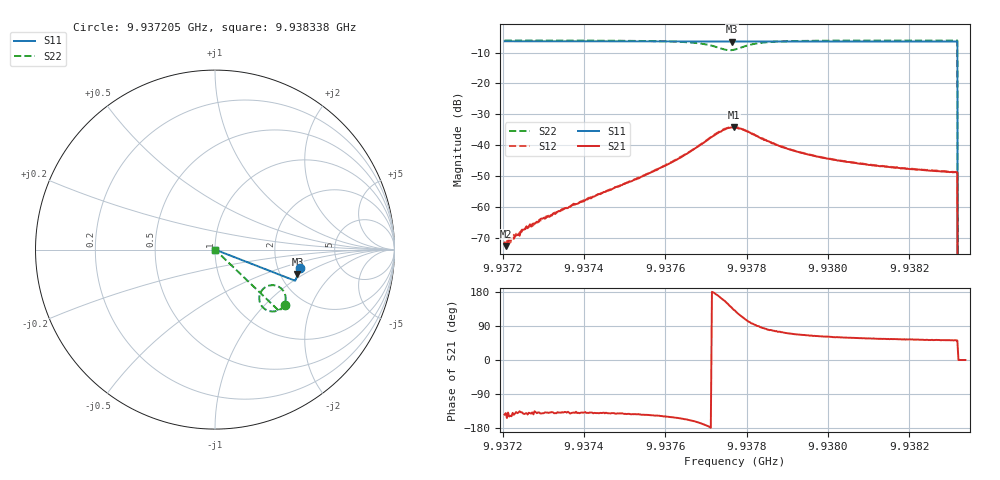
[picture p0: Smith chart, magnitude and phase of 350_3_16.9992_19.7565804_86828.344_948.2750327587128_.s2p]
#  HZ  S  RI  R  50.00
! Rohde & Schwarz Vector Network Analyzer
! Rohde-Schwarz,ZNB20-2Port,1311601062101988,3.16
! Created: UTC 3/20/2024, 11:07:48 PM
! freq[Hz]  re:S11  im:S11  re:S21  im:S21  re:S12  im:S12  re:S22  im:S22
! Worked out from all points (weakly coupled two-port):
!   401 points, 9.937205 GHz to 9.938338 GHz, reference 50 ohm
!   highest |S21| = -34.26 dB at 9.937769 GHz (marker M1); lowest = -72.7 dB at 9.937208 GHz (marker M2)
!   lowest |S11| = -6.4 dB at 9.937763 GHz (marker M3), VSWR 2.84, Z = 124 - j44.1 ohm
!   |S11| at or under -10 dB: 9.938318 GHz to end of sweep
!   |S22| runs from - to -6.0 dB; largest |S21 - S12| = 0.001
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9.9372051e9  0.473 -0.1019  -0.000213 -0.000154  -0.000174 -0.000149  0.3901 -0.3105
9.9372079e9  0.4729 -0.102  -0.000177 -0.000148  -0.000191 -0.000158  0.3898 -0.3107
9.9372277e9  0.4726 -0.1035  -0.000246 -0.000175  -0.000289 -0.000199  0.3884 -0.3121
9.9372561e9  0.4721 -0.1053  -0.000338 -0.000271  -0.00034 -0.000291  0.3863 -0.314
9.9372957e9  0.4712 -0.1081  -0.0005 -0.000404  -0.000477 -0.000369  0.3834 -0.3168
9.9373948e9  0.4692 -0.1147  -0.00092 -0.000815  -0.000908 -0.000781  0.3747 -0.3242
9.9375845e9  0.465 -0.1273  -0.00351 -0.00229  -0.00357 -0.00221  0.3436 -0.3414
9.9376383e9  0.4635 -0.1311  -0.00568 -0.00275  -0.00585 -0.00269  0.3229 -0.3449
9.9376978e9  0.4615 -0.135  -0.0112 -0.0017  -0.0114 -0.00155  0.2781 -0.3317
9.9377375e9  0.4598 -0.137  -0.0159 0.00488  -0.0165 0.00542  0.2467 -0.2741
9.9377629e9  0.4591 -0.1374  -0.0145 0.0128  -0.0143 0.0134  0.272 -0.2158
9.9377686e9  0.4591 -0.1377  -0.013 0.0144  -0.0129 0.0147  0.2845 -0.2071
9.9377714e9  0.4593 -0.1377  -0.0124 0.0146  -0.012 0.0153  0.2913 -0.2039
9.9377913e9  0.4595 -0.1386  -0.00664 0.0166  -0.00613 0.0169  0.3377 -0.2001
9.9378309e9  0.4593 -0.1415  0.000319 0.0133  0.000606 0.0135  0.3851 -0.2372
9.9378904e9  0.4583 -0.1459  0.00278 0.00878  0.00299 0.00878  0.3935 -0.279
9.9379612e9  0.4565 -0.1507  0.00298 0.00612  0.00315 0.00613  0.3878 -0.3033
9.9380433e9  0.4544 -0.156  0.00277 0.00462  0.00289 0.00463  0.3801 -0.3184
9.9381509e9  0.4516 -0.163  0.00253 0.0036  0.00263 0.00363  0.3707 -0.3305
9.9383123e9  0.4471 -0.1734  0.00224 0.00289  0.00229 0.00285  0.3593 -0.3434
9.9383265e9  0 0  0 0  0 0  0 0
9.9383378e9  0 0  0 0  0 0  0 0
